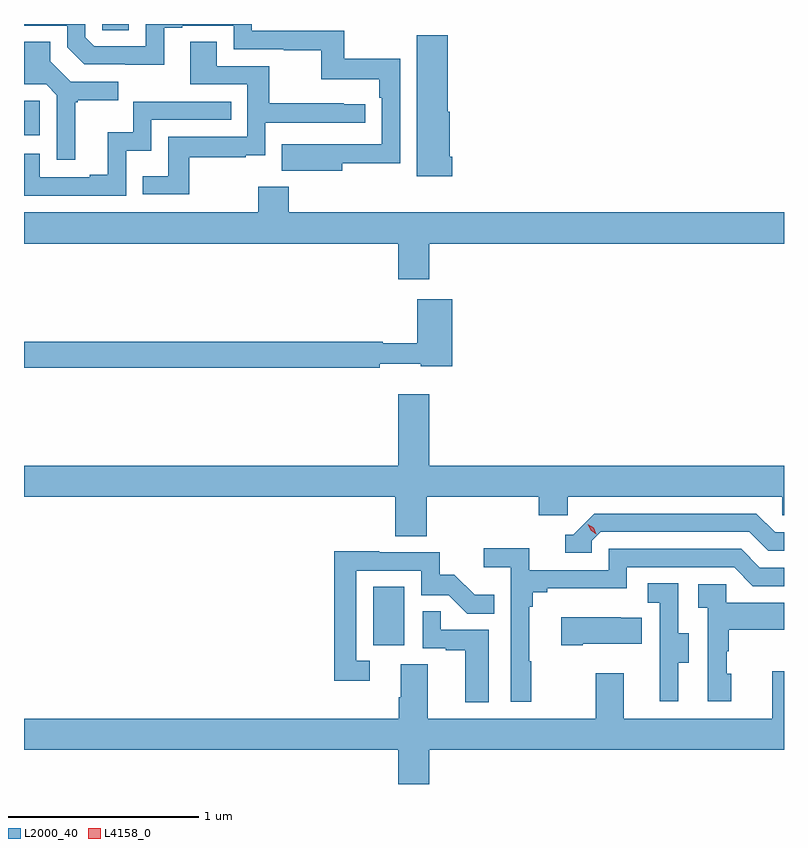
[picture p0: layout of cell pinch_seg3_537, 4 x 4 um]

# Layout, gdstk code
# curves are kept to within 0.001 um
import gdstk
lib = gdstk.Library(unit=1e-6, precision=1e-09)
def R(c, l, rs):  # rectangles x0, y0, x1, y1
    for r in rs: c.add(gdstk.rectangle(r[:2], r[2:], *l))
def P(c, l, *ps):  # polygons
    for p in ps: c.add(gdstk.Polygon(p, *l))
L2000_40 = (2000, 40)
L4158_0 = (4158, 0)

pinch_seg3_537 = lib.new_cell('pinch_seg3_537')
R(pinch_seg3_537, L2000_40, [(1141.898,689.478,1142.062,689.785), (1140.061,692.163,1140.144,692.343), (1140.474,692.716,1140.613,692.748)])
P(pinch_seg3_537, L2000_40, [(1141.735,692.014),(1142.04,692.014),(1142.04,692.566),(1141.747,692.566),(1141.747,692.712),(1141.26,692.712),(1141.26,692.748),(1140.702,692.748),(1140.702,692.631),(1140.432,692.631),(1140.384,692.679),(1140.384,692.748),(1140.061,692.748),(1140.061,692.739),(1140.288,692.739),(1140.288,692.625),(1140.378,692.535),(1140.799,692.534),(1140.799,692.727),(1140.895,692.727),(1140.895,692.739),(1141.164,692.739),(1141.164,692.616),(1141.429,692.616),(1141.429,692.611),(1141.626,692.611),(1141.626,692.456),(1141.931,692.456),(1141.931,692.36),(1141.944,692.36),(1141.944,692.115),(1141.417,692.116),(1141.417,691.976),(1141.735,691.976)],
  [(1142.315,692.05),(1142.302,692.05),(1142.302,692.286),(1142.29,692.286),(1142.29,692.689),(1142.129,692.689),(1142.129,691.946),(1142.315,691.946)],
  [(1140.331,692.337),(1140.343,692.337),(1140.343,692.348),(1140.556,692.348),(1140.556,692.445),(1140.306,692.445),(1140.199,692.552),(1140.199,692.654),(1140.061,692.654),(1140.061,692.43),(1140.177,692.43),(1140.234,692.373),(1140.234,692.034),(1140.331,692.034)],
  [(1140.931,692.046),(1141.229,692.046),(1141.229,692.057),(1141.332,692.057),(1141.332,692.229),(1141.858,692.229),(1141.858,692.325),(1141.745,692.325),(1141.745,692.33),(1141.352,692.33),(1141.352,692.526),(1141.075,692.526),(1141.075,692.654),(1140.935,692.654),(1140.935,692.43),(1141.236,692.43),(1141.236,692.154),(1140.82,692.154),(1140.82,691.948),(1140.685,691.948),(1140.685,691.851),(1140.931,691.851)],
  [(1140.6,692.081),(1140.732,692.081),(1140.732,692.244),(1141.151,692.244),(1141.151,692.34),(1140.636,692.34),(1140.636,692.179),(1140.503,692.179),(1140.503,691.954),(1140.407,691.954),(1140.407,691.941),(1140.144,691.941),(1140.144,692.064),(1140.061,692.064),(1140.061,691.845),(1140.6,691.845)],
  [(1142.194,691.592),(1144.061,691.592),(1144.061,691.756),(1141.454,691.756),(1141.454,691.891),(1141.294,691.891),(1141.294,691.756),(1140.061,691.756),(1140.061,691.592),(1142.03,691.592),(1142.03,691.404),(1142.194,691.404)],
  [(1141.934,690.959),(1142.148,690.959),(1142.148,690.947),(1142.315,690.947),(1142.315,691.3),(1142.132,691.3),(1142.132,691.069),(1141.948,691.069),(1141.948,691.076),(1140.061,691.076),(1140.061,690.94),(1141.934,690.94)],
  [(1142.18,690.26),(1142.771,690.26),(1142.771,690.162),(1142.922,690.162),(1142.922,690.26),(1144.053,690.26),(1144.053,690.162),(1144.061,690.162),(1144.061,690.424),(1142.194,690.424),(1142.194,690.799),(1142.03,690.799),(1142.03,690.424),(1140.061,690.424),(1140.061,690.26),(1142.015,690.26),(1142.015,690.052),(1142.18,690.052)],
  [(1143.048,690.027),(1143.096,690.075),(1143.879,690.075),(1143.978,689.976),(1144.061,689.976),(1144.061,690.072),(1144.015,690.072),(1143.916,690.171),(1143.063,690.171),(1142.952,690.06),(1142.909,690.06),(1142.909,689.964),(1143.048,689.964)],
  [(1142.731,689.393),(1142.719,689.393),(1142.719,689.681),(1142.738,689.681),(1142.738,689.758),(1142.815,689.758),(1142.815,689.777),(1143.234,689.777),(1143.234,689.889),(1143.798,689.889),(1143.897,689.79),(1144.061,689.79),(1144.061,689.886),(1143.934,689.886),(1143.835,689.985),(1143.138,689.985),(1143.138,689.874),(1142.72,689.874),(1142.72,689.99),(1142.481,689.99),(1142.481,689.888),(1142.622,689.888),(1142.622,689.181),(1142.731,689.181)],
  [(1141.882,689.397),(1141.809,689.397),(1141.809,689.871),(1142.151,689.871),(1142.151,689.742),(1142.296,689.742),(1142.394,689.644),(1142.537,689.644),(1142.537,689.743),(1142.433,689.743),(1142.326,689.85),(1142.25,689.85),(1142.25,689.967),(1141.931,689.967),(1141.931,689.972),(1141.693,689.972),(1141.693,689.292),(1141.882,689.292)],
  [(1143.505,689.386),(1143.559,689.386),(1143.559,689.541),(1143.504,689.541),(1143.504,689.804),(1143.345,689.804),(1143.345,689.701),(1143.408,689.701),(1143.408,689.397),(1143.407,689.397),(1143.407,689.184),(1143.505,689.184)],
  [(1143.784,689.328),(1143.759,689.328),(1143.759,689.447),(1143.769,689.447),(1143.769,689.561),(1144.061,689.561),(1144.061,689.701),(1143.756,689.701),(1143.756,689.799),(1143.609,689.799),(1143.609,689.675),(1143.66,689.675),(1143.66,689.184),(1143.784,689.184)],
  [(1142.506,689.559),(1142.255,689.559),(1142.255,689.657),(1142.16,689.657),(1142.16,689.463),(1142.281,689.463),(1142.281,689.451),(1142.384,689.451),(1142.384,689.177),(1142.506,689.177)],
  [(1143.001,689.486),(1143.311,689.486),(1143.311,689.623),(1143.203,689.623),(1143.203,689.626),(1142.889,689.626),(1142.889,689.479),(1143.001,689.479)],
  [(1142.194,688.928),(1144.061,688.928),(1144.061,689.341),(1143.998,689.341),(1143.998,689.092),(1143.217,689.092),(1143.217,689.332),(1143.07,689.332),(1143.07,689.092),(1142.185,689.092),(1142.185,689.378),(1142.045,689.378),(1142.045,689.204),(1142.033,689.204),(1142.033,689.092),(1140.061,689.092),(1140.061,688.928),(1142.03,688.928),(1142.03,688.748),(1142.194,688.748)])
P(pinch_seg3_537, L4158_0, [(1143.074,690.063),(1143.044,690.083),(1143.028,690.115),(1143.028,690.116),(1143.028,690.116),(1143.059,690.096),(1143.074,690.063),(1143.074,690.063)])

lib.write_gds('pinch_seg3_537.gds')
